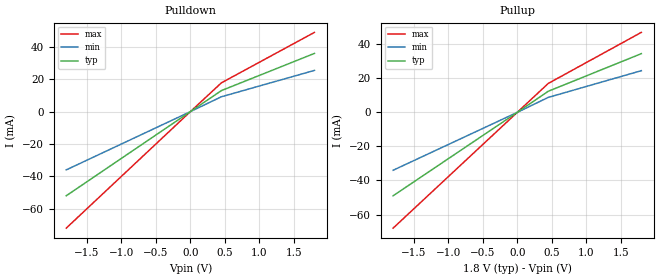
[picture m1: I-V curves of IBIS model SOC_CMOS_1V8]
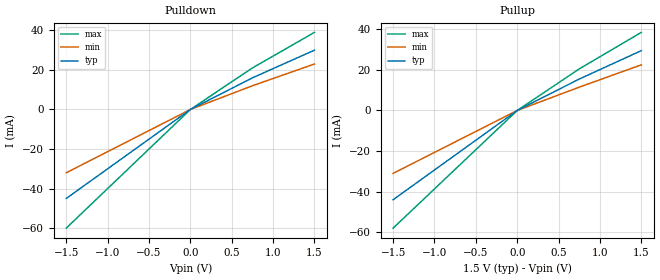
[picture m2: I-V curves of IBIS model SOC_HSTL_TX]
[IBIS Ver] 6.1
[File Name] soc_io.ibs
[File Rev] 1.4
[Date] November 24, 2026
[Component] ANSATZ_SOC_BGA484
[Manufacturer] Ansatz Silicon Corp
[Package]
R_pkg   0.1100   0.0650   0.1750
L_pkg   1.850nH   1.050nH   2.900nH
C_pkg   0.820pF   0.480pF   1.250pF
[Pin] signal_name model_name R_pin L_pin C_pin
A1   VDD_IO   POWER
A2   VSS   GND
B1   SPI_CLK   SOC_CMOS_1V8
B2   SPI_MOSI   SOC_CMOS_1V8
B3   SPI_MISO   SOC_CMOS_IN
C1   CLK_P   SOC_HSTL_TX
C2   CLK_N   SOC_HSTL_TX
[Model] SOC_CMOS_IN
Model_type Input
C_comp 1.1pF 0.8pF 1.5pF
[Voltage Range] 1.8V 1.65V 1.95V
Vinl = 0.63V
Vinh = 1.17V
| Models and submodels in the file (3): SOC_CMOS_1V8 (Output), SOC_CMOS_IN (Input), SOC_HSTL_TX (Output)
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[Model] SOC_CMOS_1V8
Model_type Output
Polarity Non-Inverting
C_comp 1.6pF 1.1pF 2.1pF
[Voltage Range] 1.8V 1.65V 1.95V
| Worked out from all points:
|   slope of the pulldown table from 0 to 0.27 V, typ, clamps not added: 34.6 ohm
[Pulldown]
-1.8V     -52mA      -36mA      -72mA
0V        0A         0A         0A
450mV     13mA       9.2mA      17.8mA
1.8V      36mA       25.5mA     49mA
[Pullup]
-1.8V     -49mA      -34mA      -68mA
0V        0A         0A         0A
450mV     12.4mA     8.8mA      17mA
1.8V      34.5mA     24.5mA     47mA
[Ramp]
dV/dt_r 0.90V/0.35ns 0.72V/0.46ns 1.08V/0.26ns
dV/dt_f 0.90V/0.35ns 0.72V/0.46ns 1.08V/0.26ns
R_load 50
[Model] SOC_HSTL_TX
Model_type Output
Polarity Non-Inverting
C_comp 0.9pF 0.65pF 1.2pF
[Voltage Range] 1.5V 1.42V 1.58V
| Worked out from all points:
|   slope of the pulldown table from 0 to 0.225 V, typ, clamps not added: 46.9 ohm
[Pulldown]
-1.5V     -45mA      -32mA      -60mA
0V        0A         0A         0A
750mV     16mA       12mA       21mA
1.5V      30mA       23mA       39mA
[Pullup]
-1.5V     -44mA      -31mA      -58mA
0V        0A         0A         0A
750mV     15.5mA     11.5mA     20.5mA
1.5V      29.5mA     22.5mA     38.5mA
[Ramp]
dV/dt_r 0.75V/0.18ns 0.60V/0.24ns 0.90V/0.14ns
dV/dt_f 0.75V/0.18ns 0.60V/0.24ns 0.90V/0.14ns
R_load 50
